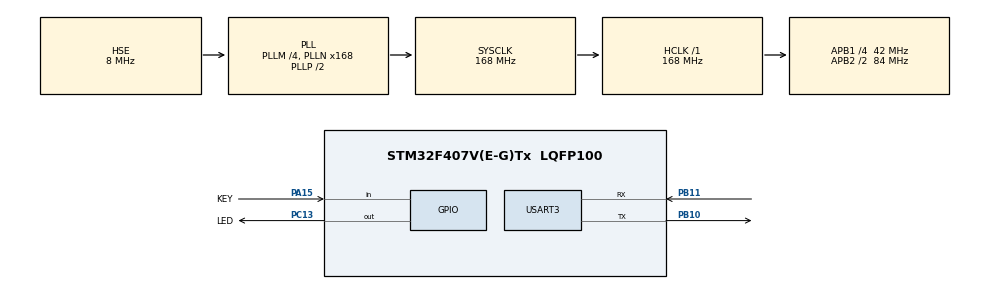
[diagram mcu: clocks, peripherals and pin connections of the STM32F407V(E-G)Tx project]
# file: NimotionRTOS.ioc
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Dma.Request0=USART3_TX
Dma.USART3_TX.0.Direction=DMA_MEMORY_TO_PERIPH
Dma.USART3_TX.0.FIFOMode=DMA_FIFOMODE_DISABLE
Dma.USART3_TX.0.Instance=DMA1_Stream3
Dma.USART3_TX.0.MemDataAlignment=DMA_MDATAALIGN_BYTE
Dma.USART3_TX.0.MemInc=DMA_MINC_ENABLE
Dma.USART3_TX.0.Mode=DMA_NORMAL
Dma.USART3_TX.0.PeriphDataAlignment=DMA_PDATAALIGN_BYTE
Dma.USART3_TX.0.PeriphInc=DMA_PINC_DISABLE
Dma.USART3_TX.0.Priority=DMA_PRIORITY_LOW
FREERTOS.Tasks01=defaultTask,0,128,StartDefaultTask,Default,NULL,Dynamic,NULL,NULL;Motor,-3,256,MotorTask,Default,NULL,Dynamic,NULL,NULL
Mcu.Family=STM32F4
Mcu.Name=STM32F407V(E-G)Tx
Mcu.Package=LQFP100
NVIC.DMA1_Stream3_IRQn=true\:5\:0\:false\:false\:true\:true\:false\:true\:true
NVIC.PriorityGroup=NVIC_PRIORITYGROUP_4
NVIC.TIM7_IRQn=true\:15\:0\:false\:false\:true\:false\:false\:true\:true
NVIC.TIM8_TRG_COM_TIM14_IRQn=true\:5\:0\:false\:false\:true\:true\:true\:true\:true
NVIC.TIM8_UP_TIM13_IRQn=true\:5\:0\:false\:false\:true\:true\:true\:true\:true
NVIC.TimeBase=TIM7_IRQn
NVIC.TimeBaseIP=TIM7
NVIC.USART3_IRQn=true\:5\:0\:false\:false\:true\:true\:true\:true\:true
PA13.Mode=Serial_Wire
PA13.Signal=SYS_JTMS-SWDIO
PA14.Mode=Serial_Wire
PA14.Signal=SYS_JTCK-SWCLK
PA15.GPIO_Label=KEY
PA15.GPIO_PuPd=GPIO_PULLUP
PA15.Signal=GPIO_Input
PB10.Mode=Asynchronous
PB10.Signal=USART3_TX
PB11.Mode=Asynchronous
PB11.Signal=USART3_RX
PC13-ANTI_TAMP.GPIO_Label=LED
PC13-ANTI_TAMP.GPIO_PuPd=GPIO_PULLUP
PC13-ANTI_TAMP.Signal=GPIO_Output
PH0-OSC_IN.Mode=HSE-External-Oscillator
PH0-OSC_IN.Signal=RCC_OSC_IN
PH1-OSC_OUT.Mode=HSE-External-Oscillator
PH1-OSC_OUT.Signal=RCC_OSC_OUT
ProjectManager.HeapSize=0x400
ProjectManager.StackSize=0x800
ProjectManager.TargetToolchain=MDK-ARM V5.32
RCC.48MHZClocksFreq_Value=84000000
RCC.AHBFreq_Value=168000000
RCC.APB1CLKDivider=RCC_HCLK_DIV4
RCC.APB1Freq_Value=42000000
RCC.APB1TimFreq_Value=84000000
RCC.APB2CLKDivider=RCC_HCLK_DIV2
RCC.APB2Freq_Value=84000000
RCC.APB2TimFreq_Value=168000000
RCC.CortexFreq_Value=168000000
RCC.HCLKFreq_Value=168000000
RCC.HSE_VALUE=8000000
RCC.HSI_VALUE=16000000
RCC.LSE_VALUE=32768
RCC.PLLM=4
RCC.PLLN=168
RCC.PLLSourceVirtual=RCC_PLLSOURCE_HSE
RCC.SYSCLKFreq_VALUE=168000000
RCC.SYSCLKSource=RCC_SYSCLKSOURCE_PLLCLK
RCC.VCOOutputFreq_Value=336000000
TIM13.Period=1000-1
TIM13.Prescaler=84-1
TIM14.AutoReloadPreload=TIM_AUTORELOAD_PRELOAD_ENABLE
TIM14.Period=1000-1
TIM14.Prescaler=84-1
USART3.VirtualMode=VM_ASYNC
VP_FREERTOS_VS_CMSIS_V1.Mode=CMSIS_V1
VP_SYS_VS_tim7.Mode=TIM7
VP_TIM13_VS_ClockSourceINT.Mode=Enable_Timer
VP_TIM14_VS_ClockSourceINT.Mode=Enable_Timer
board=custom

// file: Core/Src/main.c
/* USER CODE BEGIN Header */
/**
  ******************************************************************************
  * @file           : main.c
  * @brief          : Main program body
  ******************************************************************************
  * @attention
  *
  * Copyright (c) 2023 STMicroelectronics.
  * All rights reserved.
  *
  * This software is licensed under terms that can be found in the LICENSE file
  * in the root directory of this software component.
  * If no LICENSE file comes with this software, it is provided AS-IS.
  *
  ******************************************************************************
  */
/* USER CODE END Header */
#include "main.h"
#include "cmsis_os.h"
#include "dma.h"
#include "tim.h"
#include "usart.h"
#include "gpio.h"

/* USER CODE BEGIN Includes */
#include "led.h"
#include "key.h"
#include "modbus.h"
#include "NiMotionMotorSDK.h"
/* USER CODE END Includes */

/* USER CODE BEGIN PV */
uint8_t uart3_res;
/* USER CODE END PV */

void SystemClock_Config(void);
void MX_FREERTOS_Init(void);

int main(void)
{

  /* MCU Configuration--------------------------------------------------------*/

  /* Reset of all peripherals, Initializes the Flash interface and the Systick. */
  HAL_Init();

  /* Configure the system clock */
  SystemClock_Config();

  /* Initialize all configured peripherals */
  MX_GPIO_Init();
  MX_DMA_Init();
  MX_TIM13_Init();
  MX_TIM14_Init();
  MX_USART3_UART_Init();
  /* USER CODE BEGIN 2 */
	HAL_UART_Receive_IT(&huart3,&uart3_res,1);
	HAL_TIM_Base_Start_IT(&htim14);
	HAL_TIM_Base_Start_IT(&htim13);
  /* USER CODE END 2 */

  /* Call init function for freertos objects (in freertos.c) */
  MX_FREERTOS_Init();

  /* Start scheduler */
  osKernelStart();

  /* We should never get here as control is now taken by the scheduler */
  /* Infinite loop */
  while (1)
  {

  }
}

void SystemClock_Config(void)
{
  RCC_OscInitTypeDef RCC_OscInitStruct = {0};
  RCC_ClkInitTypeDef RCC_ClkInitStruct = {0};

  /** Configure the main internal regulator output voltage
  */
  __HAL_RCC_PWR_CLK_ENABLE();
  __HAL_PWR_VOLTAGESCALING_CONFIG(PWR_REGULATOR_VOLTAGE_SCALE1);

  /** Initializes the RCC Oscillators according to the specified parameters
  * in the RCC_OscInitTypeDef structure.
  */
  RCC_OscInitStruct.OscillatorType = RCC_OSCILLATORTYPE_HSE;
  RCC_OscInitStruct.HSEState = RCC_HSE_ON;
  RCC_OscInitStruct.PLL.PLLState = RCC_PLL_ON;
  RCC_OscInitStruct.PLL.PLLSource = RCC_PLLSOURCE_HSE;
  RCC_OscInitStruct.PLL.PLLM = 4;
  RCC_OscInitStruct.PLL.PLLN = 168;
  RCC_OscInitStruct.PLL.PLLP = RCC_PLLP_DIV2;
  RCC_OscInitStruct.PLL.PLLQ = 4;
  if (HAL_RCC_OscConfig(&RCC_OscInitStruct) != HAL_OK)
  {
    Error_Handler();
  }

  /** Initializes the CPU, AHB and APB buses clocks
  */
  RCC_ClkInitStruct.ClockType = RCC_CLOCKTYPE_HCLK|RCC_CLOCKTYPE_SYSCLK
                              |RCC_CLOCKTYPE_PCLK1|RCC_CLOCKTYPE_PCLK2;
  RCC_ClkInitStruct.SYSCLKSource = RCC_SYSCLKSOURCE_PLLCLK;
  RCC_ClkInitStruct.AHBCLKDivider = RCC_SYSCLK_DIV1;
  RCC_ClkInitStruct.APB1CLKDivider = RCC_HCLK_DIV4;
  RCC_ClkInitStruct.APB2CLKDivider = RCC_HCLK_DIV2;

  if (HAL_RCC_ClockConfig(&RCC_ClkInitStruct, FLASH_LATENCY_5) != HAL_OK)
  {
    Error_Handler();
  }
}

/* USER CODE BEGIN 4 */
void HAL_UART_RxCpltCallback(UART_HandleTypeDef *huart)
{
	if(huart == &huart3)
	{

		if(RS485_RX_CNT<64)
		{
			RS485_RX_BUF[RS485_RX_CNT]=uart3_res;		//记录接收到的值
			RS485_RX_CNT++;						//接收数据增加1
			__HAL_TIM_SetCounter(&htim13,0);
			HAL_TIM_Base_Start_IT(&htim13);
		}
		HAL_UART_Receive_IT(&huart3,&uart3_res,1);
	}
}
/* USER CODE END 4 */

void HAL_TIM_PeriodElapsedCallback(TIM_HandleTypeDef *htim)
{
  if (htim->Instance == TIM7) {
    HAL_IncTick();
  }
  /* USER CODE BEGIN Callback 1 */

	if(htim->Instance == htim14.Instance)
	{
		static int TimeCnt = 0;
		Led_Flash(500);
		Timer++;//1MS中断
		TimeCnt++;
		if(TimeCnt>50)//500ms
		{
			CntFlag=1;

			if(*CurrentPostion==*TAGPostion)
			{
				ActionFlag=0;
			}
			TimeCnt=0;
		}
	}

	if (htim == &htim13)
	{
		RTU_FLAG = 1;
//		HAL_TIM_Base_Stop_IT(&htim13);
	}

  /* USER CODE END Callback 1 */
}

void Error_Handler(void)
{
  __disable_irq();
  while (1)
  {
  }
}

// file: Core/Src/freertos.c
/* USER CODE BEGIN Header */
/**
  ******************************************************************************
  * File Name          : freertos.c
  * Description        : Code for freertos applications
  ******************************************************************************
  * @attention
  *
  * Copyright (c) 2023 STMicroelectronics.
  * All rights reserved.
  *
  * This software is licensed under terms that can be found in the LICENSE file
  * in the root directory of this software component.
  * If no LICENSE file comes with this software, it is provided AS-IS.
  *
  ******************************************************************************
  */
/* USER CODE END Header */

#include "FreeRTOS.h"
#include "task.h"
#include "main.h"
#include "cmsis_os.h"

/* USER CODE BEGIN Includes */
#include "tim.h"
#include "usart.h"
#include "NiMotionMotorSDK.h"
#include "NiMotionTest.h"
#include "key.h"
/* USER CODE END Includes */

osThreadId defaultTaskHandle;
osThreadId MotorHandle;

void StartDefaultTask(void const * argument);
void MotorTask(void const * argument);

void MX_FREERTOS_Init(void); /* (MISRA C 2004 rule 8.1) */

/* GetIdleTaskMemory prototype (linked to static allocation support) */
void vApplicationGetIdleTaskMemory( StaticTask_t **ppxIdleTaskTCBBuffer, StackType_t **ppxIdleTaskStackBuffer, uint32_t *pulIdleTaskStackSize );

/* USER CODE BEGIN GET_IDLE_TASK_MEMORY */
static StaticTask_t xIdleTaskTCBBuffer;
static StackType_t xIdleStack[configMINIMAL_STACK_SIZE];

void vApplicationGetIdleTaskMemory( StaticTask_t **ppxIdleTaskTCBBuffer, StackType_t **ppxIdleTaskStackBuffer, uint32_t *pulIdleTaskStackSize )
{
  *ppxIdleTaskTCBBuffer = &xIdleTaskTCBBuffer;
  *ppxIdleTaskStackBuffer = &xIdleStack[0];
  *pulIdleTaskStackSize = configMINIMAL_STACK_SIZE;
  /* place for user code */
}
/* USER CODE END GET_IDLE_TASK_MEMORY */

void MX_FREERTOS_Init(void) {

  /* Create the thread(s) */
  /* definition and creation of defaultTask */
  osThreadDef(defaultTask, StartDefaultTask, osPriorityNormal, 0, 128);
  defaultTaskHandle = osThreadCreate(osThread(defaultTask), NULL);

  /* definition and creation of Motor */
  osThreadDef(Motor, MotorTask, osPriorityIdle, 0, 256);
  MotorHandle = osThreadCreate(osThread(Motor), NULL);

}

void StartDefaultTask(void const * argument)
{
  for(;;)
  {
    osDelay(1);
  }
}

void MotorTask(void const * argument)
{
  /* USER CODE BEGIN MotorTask */
  /* Infinite loop */
//	while(KeyState(0) == 0);
	uint32_t error_step = 0;
	uint32_t nim_return = 0;
	uint32_t temp =0;//防止指针跑飞
	uint32_t temp1 =0;//防止指针跑飞
	CurrentPostion =&temp;//防止指针跑飞
	TAGPostion=&temp1;//防止指针跑飞
	/*******************电机速度模式运行案例***************/
	int Motor = 3;
	NiM_AppLocation(Motor);//应用性故障处理
	osDelay(1000);//等待1s
	nim_return = NiM_changeWorkMode(Motor, VELOCITY_MODE); //切换至速度模式
	osDelay(20);
	nim_return = NiM_changeWorkMode(4, VELOCITY_MODE); //切换至速度模式

//	NiM_AppLocation(Motor);//应用性故障处理
//	osDelay(100);//等待1s
	nim_return = NiM_powerOff(Motor);//脱机
	osDelay(20);
//	nim_return = NiM_powerOff(4);//脱机
	osDelay(2000);

//	NiM_AppLocation(Motor);//应用性故障处理
//	osDelay(100);//等待1s
	nim_return = NiM_powerOn(Motor);//抱机
	osDelay(20);
//	nim_return = NiM_powerOn(4);//抱机
	osDelay(20);

//	nim_return = NiM_moveVelocity(Motor, 500); //速度100正转
//	nim_return = NiM_moveVelocity(4, 500); //速度100正转

	for(int i=0;i<15;i++){
//		NiM_AppLocation(Motor);//应用性故障处理
//		osDelay(100);//等待1s
		nim_return = NiM_moveVelocity(Motor, 500); //速度100正转
		osDelay(20);
//		nim_return = NiM_moveVelocity(4, 500); //速度100正转
		osDelay(600);

//		NiM_AppLocation(Motor);//应用性故障处理
//		osDelay(100);//等待10s
		nim_return = NiM_moveVelocity(Motor, -500); //速度200反转
		osDelay(20);
//		nim_return = NiM_moveVelocity(4, -500); //速度200反转
		osDelay(600);
	}

	NiM_AppLocation(Motor);//应用性故障处理
	osDelay(1000);//等待10s
	nim_return = NiM_powerOff(Motor);//脱机
//	osDelay(20);
//	nim_return = NiM_powerOff(4);//脱机

	NiM_AppLocation(Motor);//应用性故障处理
	osDelay(1000);//等待1s

  for(;;)
  {
    osDelay(1);
  }
  /* USER CODE END MotorTask */
}
